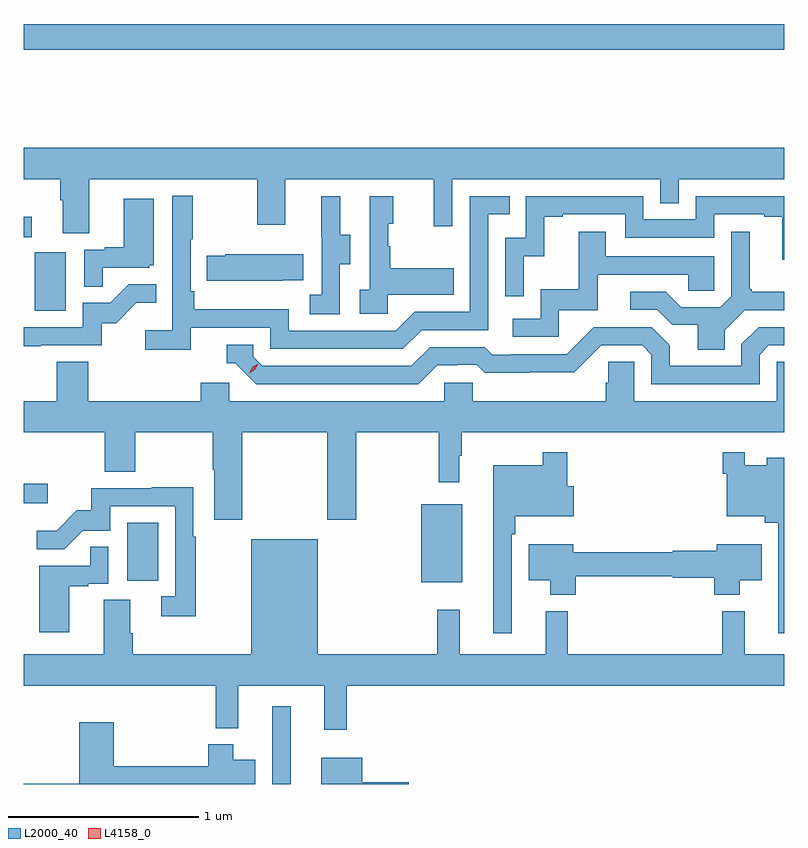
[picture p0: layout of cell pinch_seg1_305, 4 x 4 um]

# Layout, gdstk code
import gdstk
lib = gdstk.Library(unit=1e-6, precision=1e-09)
def R(c, l, rs):  # rectangles x0, y0, x1, y1
    for r in rs: c.add(gdstk.rectangle(r[:2], r[2:], *l))
def P(c, l, *ps):  # polygons
    for p in ps: c.add(gdstk.Polygon(p, *l))
L2000_40 = (2000, 40)
L4158_0 = (4158, 0)

pinch_seg1_305 = lib.new_cell('pinch_seg1_305')
R(pinch_seg1_305, L2000_40, [(914.043,555.21,914.14,555.619), (914.828,556.271,915.043,556.681), (913.28,556.278,913.444,556.585), (912.737,556.688,912.862,556.79), (912.794,557.7,912.958,558.007), (912.737,558.087,912.778,558.193), (912.737,559.072,916.737,559.208)])
P(pinch_seg1_305, L2000_40, [(913.081,558.392),(913.966,558.392),(913.966,558.153),(914.113,558.153),(914.113,558.392),(914.894,558.392),(914.894,558.144),(914.991,558.144),(914.991,558.392),(916.086,558.392),(916.086,558.265),(916.182,558.265),(916.182,558.392),(916.737,558.392),(916.737,558.556),(912.737,558.556),(912.737,558.392),(912.929,558.392),(912.929,558.28),(912.941,558.28),(912.941,558.106),(913.081,558.106)],
  [(913.616,557.61),(914.034,557.61),(914.034,557.499),(914.731,557.499),(914.83,557.598),(915.18,557.598),(915.18,558.207),(915.293,558.207),(915.293,558.303),(915.084,558.303),(915.084,557.694),(914.793,557.694),(914.694,557.595),(914.13,557.595),(914.13,557.707),(913.634,557.707),(913.634,557.803),(913.614,557.803),(913.614,558.076),(913.627,558.076),(913.627,558.304),(913.518,558.304),(913.518,557.596),(913.377,557.596),(913.377,557.494),(913.616,557.494)],
  [(915.366,557.987),(915.476,557.987),(915.476,558.195),(915.571,558.195),(915.571,558.207),(915.9,558.207),(915.9,558.084),(916.368,558.084),(916.368,558.207),(916.631,558.207),(916.631,558.195),(916.727,558.195),(916.727,557.969),(916.737,557.969),(916.737,558.303),(916.272,558.303),(916.272,558.18),(915.996,558.18),(915.996,558.303),(915.378,558.303),(915.378,558.084),(915.27,558.084),(915.27,557.775),(915.366,557.775)],
  [(914.4,557.944),(914.455,557.944),(914.455,558.099),(914.401,558.099),(914.401,558.301),(914.303,558.301),(914.303,558.087),(914.304,558.087),(914.304,557.783),(914.241,557.783),(914.241,557.68),(914.4,557.68)],
  [(914.652,557.783),(914.999,557.783),(914.999,557.923),(914.665,557.923),(914.665,558.038),(914.655,558.038),(914.655,558.156),(914.68,558.156),(914.68,558.301),(914.556,558.301),(914.556,557.81),(914.505,557.81),(914.505,557.685),(914.652,557.685)],
  [(913.151,557.925),(913.398,557.925),(913.398,557.94),(913.42,557.94),(913.42,558.289),(913.262,558.289),(913.262,558.034),(913.163,558.034),(913.163,558.021),(913.056,558.021),(913.056,557.827),(913.151,557.827)],
  [(915.552,557.703),(915.757,557.703),(915.757,557.889),(916.231,557.889),(916.231,557.805),(916.368,557.805),(916.368,557.985),(915.799,557.985),(915.799,558.115),(915.655,558.115),(915.655,557.812),(915.456,557.812),(915.456,557.658),(915.309,557.658),(915.309,557.562),(915.552,557.562)],
  [(916.423,557.596),(916.53,557.703),(916.737,557.703),(916.737,557.8),(916.567,557.8),(916.567,557.812),(916.555,557.812),(916.555,558.115),(916.458,558.115),(916.458,557.775),(916.401,557.718),(916.195,557.718),(916.114,557.799),(915.927,557.799),(915.927,557.706),(916.068,557.706),(916.148,557.626),(916.283,557.626),(916.283,557.494),(916.423,557.494)],
  [(914.099,557.861),(914.207,557.861),(914.207,557.998),(913.797,557.998),(913.797,557.988),(913.699,557.988),(913.699,557.858),(914.099,557.858)],
  [(912.827,557.517),(913.146,557.517),(913.146,557.634),(913.222,557.634),(913.329,557.741),(913.433,557.741),(913.433,557.84),(913.289,557.84),(913.191,557.742),(913.047,557.742),(913.047,557.613),(912.737,557.613),(912.737,557.512),(912.827,557.512)],
  [(914.911,557.412),(915.018,557.412),(915.018,557.415),(915.121,557.415),(915.163,557.373),(915.396,557.373),(915.396,557.375),(915.632,557.375),(915.774,557.517),(915.99,557.517),(916.038,557.469),(916.038,557.313),(916.608,557.313),(916.608,557.469),(916.656,557.517),(916.737,557.517),(916.737,557.613),(916.602,557.613),(916.512,557.523),(916.512,557.409),(916.135,557.409),(916.135,557.519),(916.041,557.613),(915.735,557.613),(915.594,557.472),(915.301,557.472),(915.301,557.469),(915.202,557.469),(915.163,557.508),(914.874,557.508),(914.775,557.409),(913.992,557.409),(913.944,557.457),(913.944,557.52),(913.805,557.52),(913.805,557.424),(913.848,557.424),(913.959,557.313),(914.812,557.313)],
  [(913.887,557.06),(914.332,557.06),(914.332,556.599),(914.487,556.599),(914.487,557.06),(914.919,557.06),(914.919,556.797),(915.028,556.797),(915.028,556.937),(915.04,556.937),(915.04,557.06),(916.737,557.06),(916.737,557.432),(916.698,557.432),(916.698,557.224),(915.948,557.224),(915.948,557.432),(915.811,557.432),(915.811,557.322),(915.797,557.322),(915.797,557.224),(915.099,557.224),(915.099,557.322),(914.949,557.322),(914.949,557.224),(913.818,557.224),(913.818,557.322),(913.667,557.322),(913.667,557.224),(913.076,557.224),(913.076,557.432),(912.911,557.432),(912.911,557.224),(912.737,557.224),(912.737,557.06),(913.163,557.06),(913.163,556.852),(913.323,556.852),(913.323,557.06),(913.732,557.06),(913.732,556.864),(913.739,556.864),(913.739,556.599),(913.887,556.599)],
  [(915.303,556.523),(915.323,556.523),(915.323,556.619),(915.631,556.619),(915.631,556.777),(915.596,556.777),(915.596,556.954),(915.468,556.954),(915.468,556.888),(915.206,556.888),(915.206,556.002),(915.303,556.002)],
  [(916.737,556.927),(916.646,556.927),(916.646,556.888),(916.53,556.888),(916.53,556.954),(916.414,556.954),(916.414,556.841),(916.434,556.841),(916.434,556.619),(916.634,556.619),(916.634,556.583),(916.707,556.583),(916.707,556.002),(916.737,556.002)],
  [(913.642,556.511),(913.629,556.511),(913.629,556.772),(913.411,556.772),(913.411,556.767),(913.093,556.767),(913.093,556.65),(913.016,556.65),(912.909,556.543),(912.805,556.543),(912.805,556.444),(912.949,556.444),(913.047,556.542),(913.191,556.542),(913.191,556.671),(913.533,556.671),(913.533,556.197),(913.461,556.197),(913.461,556.092),(913.642,556.092)],
  [(914.435,555.728),(916.737,555.728),(916.737,555.892),(916.529,555.892),(916.529,556.12),(916.411,556.12),(916.411,555.892),(915.599,555.892),(915.599,556.12),(915.482,556.12),(915.482,555.892),(915.029,555.892),(915.029,556.126),(914.911,556.126),(914.911,555.892),(914.284,555.892),(914.284,556.498),(913.934,556.498),(913.934,555.892),(913.31,555.892),(913.31,556.004),(913.297,556.004),(913.297,556.178),(913.157,556.178),(913.157,555.892),(912.737,555.892),(912.737,555.728),(913.747,555.728),(913.747,555.503),(913.865,555.503),(913.865,555.728),(914.318,555.728),(914.318,555.495),(914.435,555.495)],
  [(915.641,556.302),(916.152,556.302),(916.152,556.294),(916.37,556.294),(916.37,556.205),(916.504,556.205),(916.504,556.283),(916.618,556.283),(916.618,556.471),(916.382,556.471),(916.382,556.438),(916.152,556.438),(916.152,556.43),(915.628,556.43),(915.628,556.471),(915.392,556.471),(915.392,556.283),(915.506,556.283),(915.506,556.205),(915.641,556.205)],
  [(912.976,556.251),(913.076,556.251),(913.076,556.263),(913.182,556.263),(913.182,556.457),(913.087,556.457),(913.087,556.359),(912.818,556.359),(912.818,556.008),(912.976,556.008)],
  [(913.954,555.337),(913.84,555.337),(913.84,555.418),(913.706,555.418),(913.706,555.304),(913.211,555.304),(913.211,555.535),(913.028,555.535),(913.028,555.212),(912.737,555.212),(912.737,555.21),(913.954,555.21)],
  [(914.761,555.218),(914.518,555.218),(914.518,555.349),(914.303,555.349),(914.303,555.21),(914.761,555.21)])
P(pinch_seg1_305, L4158_0, [(913.922,557.37),(913.922,557.37),(913.938,557.403),(913.969,557.422),(913.969,557.422),(913.969,557.422),(913.953,557.389),(913.922,557.37)])

lib.write_gds('pinch_seg1_305.gds')
